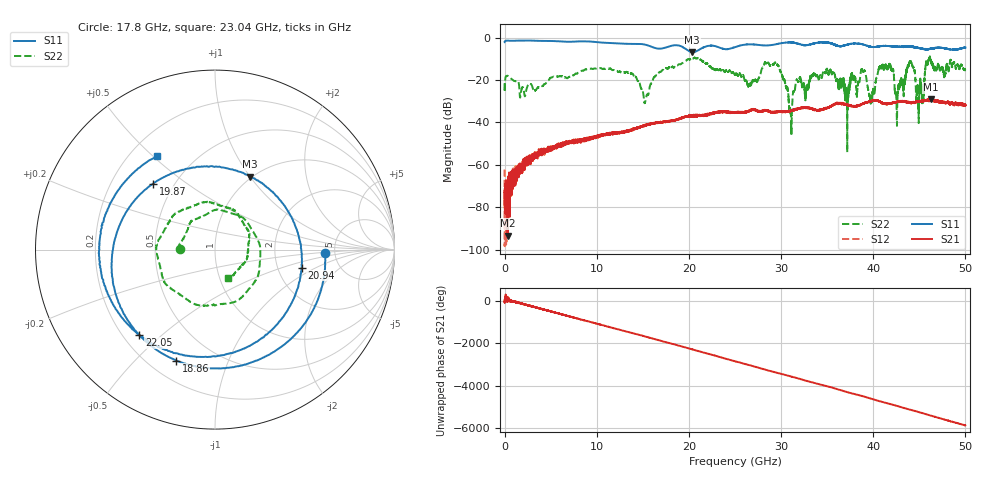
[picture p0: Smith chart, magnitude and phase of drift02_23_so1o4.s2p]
!Created with skrf (http://scikit-rf.org).
# Hz S RI R 50.0
!freq ReS11 ImS11 ReS21 ImS21 ReS12 ImS12 ReS22 ImS22
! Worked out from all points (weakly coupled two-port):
!   10001 points, 300 kHz to 50 GHz, reference 50 ohm
!   highest |S21| = -29.12 dB at 46.22 GHz (marker M1); lowest = -93.4 dB at 325.3 MHz (marker M2)
!   lowest |S11| = -6.9 dB at 20.36 GHz (marker M3), VSWR 2.64, Z = 49 + j50 ohm
!   |S11| at or under -10 dB: nowhere
!   |S22| runs from -54.1 to -8.9 dB; largest |S21 - S12| = 0.0034
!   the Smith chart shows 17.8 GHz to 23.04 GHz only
!   S11 on the Smith chart (normalised r, x): 17.8 GHz: 4.14, -0.25; 18.86 GHz: 0.31, -0.66; 19.87 GHz: 0.38, +0.38; 20.94 GHz: 2.72, -0.72; 22.05 GHz: 0.26, -0.42; 23.04 GHz: 0.31, +0.51
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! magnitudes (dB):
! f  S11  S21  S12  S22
! 300 kHz  -2.1  -71.9  -62.3  -21.5
! 325.3 MHz  -1.4  -93.4  -75.1  -18.0
! 8.335 GHz  -1.7  -48.8  -48.8  -15.8
! 15.32 GHz  -3.4  -41.1  -41.2  -29.2
! 16.67 GHz  -5.2  -40.0  -40.1  -16.9
! 17.8 GHz  -4.3  -39.4  -39.5  -14.1
! 18.86 GHz  -3.7  -38.4  -38.5  -12.7
! 19.87 GHz  -5.9  -37.0  -37.2  -10.2
! 20.36 GHz  -6.9  -36.5  -37.0  -9.9
! 20.94 GHz  -6.1  -37.1  -36.6  -9.7
! 22.05 GHz  -3.9  -36.2  -36.5  -12.5
! 23.04 GHz  -4.3  -35.1  -35.2  -15.1
! 25 GHz  -4.5  -35.4  -35.4  -17.3
! 29.5 GHz  -3.1  -35.0  -35.1  -12.6
! 31.03 GHz  -2.3  -34.4  -34.8  -35.8
! 33.34 GHz  -3.0  -33.7  -33.4  -18.0
! 38.91 GHz  -3.2  -31.2  -31.2  -16.1
! 39.74 GHz  -4.3  -30.0  -29.9  -29.7
! 41.67 GHz  -4.0  -30.8  -31.0  -13.4
! 45.15 GHz  -5.1  -29.9  -29.8  -22.9
! 46.22 GHz  -5.3  -29.1  -29.3  -10.4
! 50 GHz  -4.7  -31.9  -31.9  -15.5
